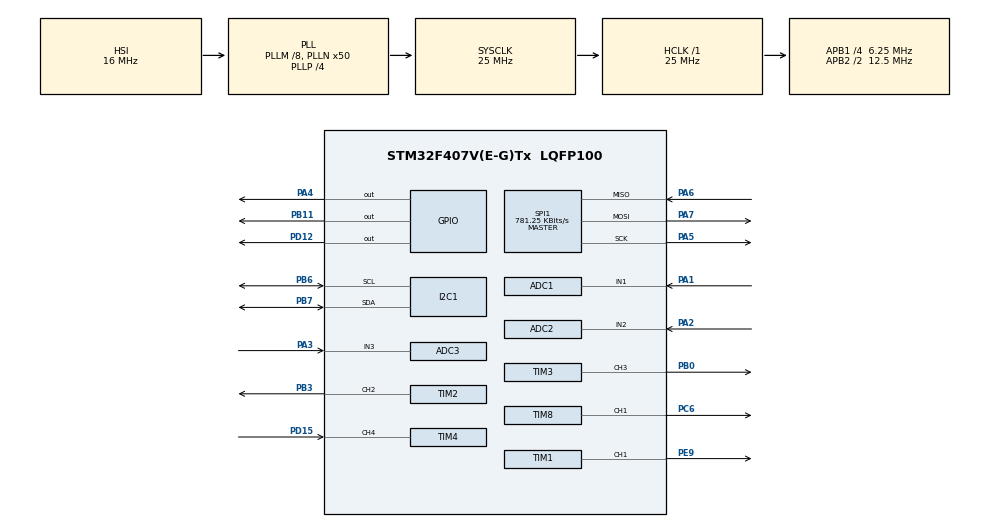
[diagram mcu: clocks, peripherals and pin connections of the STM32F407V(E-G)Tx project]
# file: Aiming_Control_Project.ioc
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ADC1.Channel-0\#ChannelRegularConversion=ADC_CHANNEL_1
ADC1.NbrOfConversionFlag=1
ADC1.Rank-0\#ChannelRegularConversion=1
ADC1.SamplingTime-0\#ChannelRegularConversion=ADC_SAMPLETIME_3CYCLES
ADC1.master=1
ADC2.Channel-0\#ChannelRegularConversion=ADC_CHANNEL_2
ADC2.NbrOfConversionFlag=1
ADC2.Rank-0\#ChannelRegularConversion=1
ADC2.SamplingTime-0\#ChannelRegularConversion=ADC_SAMPLETIME_3CYCLES
ADC3.Channel-0\#ChannelRegularConversion=ADC_CHANNEL_3
ADC3.NbrOfConversionFlag=1
ADC3.Rank-0\#ChannelRegularConversion=1
ADC3.SamplingTime-0\#ChannelRegularConversion=ADC_SAMPLETIME_3CYCLES
Mcu.Family=STM32F4
Mcu.Name=STM32F407V(E-G)Tx
Mcu.Package=LQFP100
NVIC.PriorityGroup=NVIC_PRIORITYGROUP_0
NVIC.TIM4_IRQn=true\:0\:0\:false\:false\:true\:true\:true\:true
PA1.Signal=ADCx_IN1
PA2.Signal=ADCx_IN2
PA3.Signal=ADCx_IN3
PA4.Signal=GPIO_Output
PA5.Mode=Full_Duplex_Master
PA5.Signal=SPI1_SCK
PA6.Mode=Full_Duplex_Master
PA6.Signal=SPI1_MISO
PA7.Mode=Full_Duplex_Master
PA7.Signal=SPI1_MOSI
PB0.Signal=S_TIM3_CH3
PB11.Signal=GPIO_Output
PB3.Signal=S_TIM2_CH2
PB6.Mode=I2C
PB6.Signal=I2C1_SCL
PB7.Mode=I2C
PB7.Signal=I2C1_SDA
PC6.Signal=S_TIM8_CH1
PD12.Signal=GPIO_Output
PD15.Signal=S_TIM4_CH4
PE9.Signal=S_TIM1_CH1
ProjectManager.HeapSize=0x200
ProjectManager.StackSize=0x400
ProjectManager.TargetToolchain=STM32CubeIDE
RCC.48MHZClocksFreq_Value=14285714.285714285
RCC.AHBFreq_Value=25000000
RCC.APB1CLKDivider=RCC_HCLK_DIV4
RCC.APB1Freq_Value=6250000
RCC.APB1TimFreq_Value=12500000
RCC.APB2CLKDivider=RCC_HCLK_DIV2
RCC.APB2Freq_Value=12500000
RCC.APB2TimFreq_Value=25000000
RCC.CortexFreq_Value=25000000
RCC.HCLKFreq_Value=25000000
RCC.HSE_VALUE=8000000
RCC.HSI_VALUE=16000000
RCC.LSE_VALUE=32768
RCC.PLLM=8
RCC.PLLN=50
RCC.PLLP=RCC_PLLP_DIV4
RCC.PLLQ=7
RCC.SYSCLKFreq_VALUE=25000000
RCC.SYSCLKSource=RCC_SYSCLKSOURCE_PLLCLK
RCC.VCOOutputFreq_Value=100000000
SH.ADCx_IN1.0=ADC1_IN1,IN1
SH.ADCx_IN2.0=ADC2_IN2,IN2
SH.ADCx_IN3.0=ADC3_IN3,IN3
SH.S_TIM1_CH1.0=TIM1_CH1,PWM Generation1 CH1
SH.S_TIM2_CH2.0=TIM2_CH2,PWM Generation2 CH2
SH.S_TIM3_CH3.0=TIM3_CH3,PWM Generation3 CH3
SH.S_TIM4_CH4.0=TIM4_CH4,Input_Capture4_from_TI4
SH.S_TIM8_CH1.0=TIM8_CH1,PWM Generation1 CH1
SPI1.BaudRatePrescaler=SPI_BAUDRATEPRESCALER_16
SPI1.CalculateBaudRate=781.25 KBits/s
SPI1.Direction=SPI_DIRECTION_2LINES
SPI1.Mode=SPI_MODE_MASTER
SPI1.VirtualType=VM_MASTER
TIM1.Channel-PWM\ Generation1\ CH1=TIM_CHANNEL_1
TIM1.Period=2000
TIM1.Prescaler=160-1
TIM2.Channel-PWM\ Generation2\ CH2=TIM_CHANNEL_2
TIM2.Period=2000
TIM2.Prescaler=160-1
TIM3.Channel-PWM\ Generation3\ CH3=TIM_CHANNEL_3
TIM3.Period=2000
TIM3.Prescaler=160-1
TIM4.Channel-Input_Capture4_from_TI4=TIM_CHANNEL_4
TIM4.Period=0xffff-1
TIM4.Prescaler=100-1
TIM8.Channel-PWM\ Generation1\ CH1=TIM_CHANNEL_1
TIM8.Period=6250-1
TIM8.Prescaler=255-1
board=STM32F407G-DISC1

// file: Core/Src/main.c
/* USER CODE BEGIN Header */
/**
  ******************************************************************************
  * @file           : main.c
  * @brief          : Main program body
  ******************************************************************************
  * @attention
  *
  * Copyright (c) 2024 STMicroelectronics.
  * All rights reserved.
  *
  * This software is licensed under terms that can be found in the LICENSE file
  * in the root directory of this software component.
  * If no LICENSE file comes with this software, it is provided AS-IS.
  *
  ******************************************************************************
  */
/* USER CODE END Header */
#include "main.h"
#include "stdio.h"
#include <string.h>
/* USER CODE BEGIN Includes */
#include "i2c-lcd.h"
#include "math.h"
/* USER CODE END Includes */

/* USER CODE BEGIN PD */

	#define ADCResolution 4096
	#define ServoRange 120

/* USER CODE END PD */

	ADC_HandleTypeDef hadc1;
	ADC_HandleTypeDef hadc2;
	ADC_HandleTypeDef hadc3;

	I2C_HandleTypeDef hi2c1;

	SPI_HandleTypeDef hspi1;

	TIM_HandleTypeDef htim1;
	TIM_HandleTypeDef htim2;
	TIM_HandleTypeDef htim3;
	TIM_HandleTypeDef htim4;
	TIM_HandleTypeDef htim8;

/* USER CODE BEGIN PV */

//Variables para la realimentación de servomotores
    float Pos_S1; //No utilizada por problemas técnicos
	float Pos_S2;
	float Pos_S3;
//Variables generales de los servomotores
	int dir = 0;
	uint32_t adcval;
//Angulos de consigna para servomotores
	double angulo_servox=0;
	double angulo_servoy=0;
//HCSR-04 variables
	uint32_t time;
	uint32_t IC_Val1 = 0;
	uint32_t IC_Val2 = 0;
	uint32_t Difference = 0;
	uint8_t Is_First_Captured = 0;
	uint8_t Distance  = 0;

//Joystick variables
	uint8_t joystick_data[5];  // Buffer de datos del joystick
	uint16_t boton1;
	uint16_t boton2;
	uint16_t angulo;
	uint16_t v_directorx;
	uint16_t v_directory;
	double angulo_grados;

	double x_value=0;
	double y_value=0;
//Variables para el movimiento de los servos
	double mov_servo1=90;
    double mov_servo2=150;
    double mov_servo3=150;
//Flag para evitar escritura constante por pantalla
    int pantalla=0;
//Buffer para escritura por pantalla
    char BufX[50];
    char BufY[50];
    char Buff[100];

/* USER CODE END PV */

	void SystemClock_Config(void);
	static void MX_GPIO_Init(void);
	static void MX_ADC1_Init(void);
	static void MX_ADC2_Init(void);
	static void MX_ADC3_Init(void);
	static void MX_TIM1_Init(void);
	static void MX_TIM2_Init(void);
	static void MX_TIM3_Init(void);
	static void MX_TIM4_Init(void);
	static void MX_I2C1_Init(void);
	static void MX_SPI1_Init(void);
	static void MX_TIM8_Init(void);

/* USER CODE BEGIN 0 */
/*-----------------------------Shoot init-------------------------------------------------*/
	void ShootPWMInit(uint16_t s){
		__HAL_TIM_SET_COMPARE(&htim8, TIM_CHANNEL_1,s);
	}
/*---------------------------End Shoot init-------------------------------------------------*/

/*-------------------------------------ServoADC Code--------------------------------------*/
	float GetPosition(uint32_t val){
		return ((float)val/ADCResolution)*ServoRange;
	}

	uint32_t ReadServo(ADC_HandleTypeDef* hadc){
		uint32_t value;

		HAL_ADC_Start(hadc);
			  if (HAL_ADC_PollForConversion(hadc,HAL_MAX_DELAY)==HAL_OK) {
			   value = HAL_ADC_GetValue(hadc);
			  }
		HAL_ADC_Stop(hadc);

		return value;
	}

/*----------------------------------ServoADC Code End--------------------------------------*/
/*----------------------------------Display Code-------------------------------------------*/
	void DrawDisplay(){
		memset(Buff,0,sizeof(Buff));
		gcvt(Pos_S2, 4, BufX);
		gcvt(Pos_S3, 4, BufY);
		strcat(Buff,"X:");
		strcat(Buff,BufX);
		strcat(Buff," Y:");
		strcat(Buff,BufY);
		lcd_enviar( "TARGET DETECTED", 0, 0);
		lcd_enviar(Buff , 1, 0);
	}
/*----------------------------------Display Code End---------------------------------------*/
/*---------------------------------Servo Position Code--------------------------------------*/
	void SetPosition(TIM_HandleTypeDef *htim,uint16_t PulseWidth){
		if(htim->Instance == TIM1)
			__HAL_TIM_SET_COMPARE(htim, TIM_CHANNEL_1, PulseWidth);
		else if(htim->Instance == TIM2)
			__HAL_TIM_SET_COMPARE(htim, TIM_CHANNEL_2, PulseWidth);
		else if(htim->Instance == TIM3)
			__HAL_TIM_SET_COMPARE(htim, TIM_CHANNEL_3, PulseWidth);
	}

	void Rotate(){
		HAL_Delay(10);
		if(dir == 0 && mov_servo1 <= 210) {
			mov_servo1=mov_servo1+3;
			__HAL_TIM_SET_COMPARE(&htim1, TIM_CHANNEL_1, mov_servo1);//2,1ms represents 180º
			if (mov_servo1==210)
				dir = 1;
		}

		if(dir == 1 && mov_servo1 >= 90) {
			mov_servo1-=3;
			__HAL_TIM_SET_COMPARE(&htim1, TIM_CHANNEL_1, mov_servo1);//2,1ms represents 180º
			if (mov_servo1<=90)
				dir = 0;
		}
	}
/*-------------------------------Servo Position Code End--------------------------------------*/

/*-------------------------------------HCSR-04 Code--------------------------------------*/
	void delay (uint16_t time)
	{
		__HAL_TIM_SET_COUNTER(&htim4, 0);
		while (__HAL_TIM_GET_COUNTER (&htim4) < time);
	}

	void HAL_TIM_IC_CaptureCallback(TIM_HandleTypeDef *htim)
	{
		if (htim->Channel == HAL_TIM_ACTIVE_CHANNEL_4)  //El canal 4 se utiliza exclusivamente para la gestión del HCSR-04.
		{
			if (Is_First_Captured==0) //Si el primer valor no es capturado
			{
				IC_Val1 = HAL_TIM_ReadCapturedValue(htim, TIM_CHANNEL_4); // Lee el primer valor
				Is_First_Captured = 1;  // Establece el primero capturado como verdadero
				//Ahora cambia la polaridad al flanco descendente.
				__HAL_TIM_SET_CAPTUREPOLARITY(htim, TIM_CHANNEL_4, TIM_INPUTCHANNELPOLARITY_FALLING);
			}

			else if (Is_First_Captured==1)   //Si el primero ya esta capturado
			{
				IC_Val2 = HAL_TIM_ReadCapturedValue(htim, TIM_CHANNEL_4);  //Lee el segundo valor
				__HAL_TIM_SET_COUNTER(htim, 0);  //Resetea el contador

				if (IC_Val2 > IC_Val1)
				{
					Difference = IC_Val2-IC_Val1;
				}

				else if (IC_Val1 > IC_Val2)
				{
					Difference = (0xffff - IC_Val1) + IC_Val2;
				}

				Distance = Difference * (0.34/2);

				Is_First_Captured = 0; //Vuelve a ponerlo en falso

				// Establece la polaridad en el flanco ascendente
				__HAL_TIM_SET_CAPTUREPOLARITY(htim, TIM_CHANNEL_4, TIM_INPUTCHANNELPOLARITY_RISING);
				__HAL_TIM_DISABLE_IT(&htim4, TIM_IT_CC1);
			}
		}
	}

	void HCSR04_Read (void)
	{
		HAL_GPIO_WritePin(GPIOA, GPIO_PIN_4, GPIO_PIN_SET); //TRIG pin HIGH
		delay(10);  // wait for 10 us
		HAL_GPIO_WritePin(GPIOA, GPIO_PIN_4, GPIO_PIN_RESET);// TRIG pin LOW

		__HAL_TIM_ENABLE_IT(&htim4, TIM_IT_CC1);
	}

	/*---------------------------------HCSR-04 Code End--------------------------------------*/

	//Lectura y tratamiento de coordenadas
	void read_joystick_position(void) {
	    uint8_t command = 0x00;  // Comando para leer datos del joystick (según el manual)

	    // Activamos el CS
	    HAL_GPIO_WritePin(GPIOB, GPIO_PIN_11, GPIO_PIN_RESET);

	    //Transmitimos para leer
	    HAL_SPI_Transmit(&hspi1, &command, 1, HAL_MAX_DELAY);

	    // Recibimos el buffer de datos del joystick
	    HAL_SPI_Receive(&hspi1, joystick_data, 5, HAL_MAX_DELAY);

	    // Cerramos el CS
	    HAL_GPIO_WritePin(GPIOB, GPIO_PIN_11, GPIO_PIN_SET);

	    // Procesar los datos: joystick_data[1] y joystick_data[2] son las posiciones X e Y
	    v_directorx = joystick_data[0];
	    angulo = joystick_data[1];  //Valores de angulo
	    v_directory = joystick_data[2];  //Sectores de angulo
	    boton1 = joystick_data[3]; //Boton central y lateral
	    boton2 = joystick_data[4]; //Confirmación de boton central y lateral

	    //Boton lateral o central como seguro
	    if(boton2)
		  {
	    	  //Valores de coordenadas en x e y para azimut y giro
			  x_value= 100-100*cos((M_PI*angulo_grados)/180);
			  y_value= 100+100*sin((M_PI*angulo_grados)/180);

			  //Movimiento de los servomotores con margen de limitación para evitar errores de medida
			  if(x_value>50.0 && mov_servo2<210)mov_servo2+=1;
			  if(x_value<150.0 && mov_servo2>90)mov_servo2-=1;
			  if(y_value<50.0 && mov_servo3<210)mov_servo3+=1;
			  if(y_value>150.0 && mov_servo3>90)mov_servo3-=1;

			  //Sector 0-60
			  if(v_directorx>1 && v_directory> 1 && v_directory< 3){
				  angulo_grados=60*1.0*angulo/255;
			  }
			  //Sector 60-90
			  else if(v_directory== 3 && v_directorx>1){
				  angulo_grados= 60+30*angulo*1.0/68;
		      }
			  //Sector 90-120
			  else if(v_directory== 3 && v_directorx<2){
				  angulo_grados= 90+30*(68-angulo)*1.0/68;
			  }
			  //Sector 120-180
		      else if(v_directorx<2 && v_directory> 1 && v_directory< 3){
				  angulo_grados= 120+60*(255-angulo)*1.0/255;
			  }
			  //Sector 180-240
			  else if(v_directorx<2 && v_directory< 2 && v_directory> 0){
				  angulo_grados= 180+60*(255-angulo)*1.0/255;
		      }
			  //Sector 240-270
			  else if(v_directory== 0 && v_directorx<2){
				 angulo_grados= 240-30*(angulo-255)*1.0/68;
		      }
			  //Sector 270-300
				else if(v_directory== 0 && v_directorx>1){
			     angulo_grados= 270+30*(angulo-255+68)*1.0/68;
			  }
			  //Sector 300-330
			  else if(v_directorx>1 && v_directory< 2 && v_directory> 0){
				 angulo_grados= 300+60*(angulo)*1.0/255;

			  }
		  }
	}

/* USER CODE END 0 */

int main(void)
{

  /* MCU Configuration--------------------------------------------------------*/

  /* Reset of all peripherals, Initializes the Flash interface and the Systick. */
	  HAL_Init();

  /* Configure the system clock */
	  SystemClock_Config();

  /* Initialize all configured peripherals */
	  MX_GPIO_Init();
	  MX_ADC1_Init();
	  MX_ADC2_Init();
	  MX_ADC3_Init();
	  MX_TIM1_Init();
	  MX_TIM2_Init();
	  MX_TIM3_Init();
	  MX_TIM4_Init();
	  MX_I2C1_Init();
	  MX_SPI1_Init();
	  MX_TIM8_Init();
  /* USER CODE BEGIN 2 */
	  HAL_TIM_PWM_Start(&htim1, TIM_CHANNEL_1);
	  HAL_TIM_PWM_Start(&htim2, TIM_CHANNEL_2);
	  HAL_TIM_PWM_Start(&htim3, TIM_CHANNEL_3);
	  HAL_TIM_PWM_Start(&htim8, TIM_CHANNEL_1);
	  HAL_TIM_IC_Start_IT(&htim4, TIM_CHANNEL_4);
	  lcd_init();
	  ShootPWMInit(3125);
	  lcd_clear();

  /* USER CODE END 2 */

  /* Infinite loop */
  /* USER CODE BEGIN WHILE */

  while (1)
  {
	  	//Lectura del sensor de ultrasonidos
		HCSR04_Read();
		//Obtención de la posicion de los servos
		Pos_S2 = GetPosition(ReadServo(&hadc2));
		Pos_S3 = GetPosition(ReadServo(&hadc3));
		//Lectura de la posición del Joystick
	    read_joystick_position();
		//Constante movimiento del servo responsable del sensor
		Rotate();
		//Movimiento de los servomotores
		SetPosition(&htim2, mov_servo2);
		SetPosition(&htim3, mov_servo3);
		//Escritura por pantalla dependiente de la distancia detectada por el servomotor
		if(Distance < 10){
			HAL_GPIO_WritePin(GPIOD,GPIO_PIN_12,1);
			if (pantalla==0){
				//Salida por pantalla
				DrawDisplay();
				pantalla=1;
			}
		}
		else{
			HAL_GPIO_WritePin(GPIOD,GPIO_PIN_12,0);
			if (pantalla==1){
				//Salida por pantalla
				lcd_clear();
				pantalla=0;
			}
		}
	   // Retardo recomendado en la DATASHEET
	   HAL_Delay(10);
    /* USER CODE END WHILE */
  }
}

void SystemClock_Config(void)
{
  RCC_OscInitTypeDef RCC_OscInitStruct = {0};
  RCC_ClkInitTypeDef RCC_ClkInitStruct = {0};

  /** Configure the main internal regulator output voltage
  */
  __HAL_RCC_PWR_CLK_ENABLE();
  __HAL_PWR_VOLTAGESCALING_CONFIG(PWR_REGULATOR_VOLTAGE_SCALE1);

  /** Initializes the RCC Oscillators according to the specified parameters
  * in the RCC_OscInitTypeDef structure.
  */
  RCC_OscInitStruct.OscillatorType = RCC_OSCILLATORTYPE_HSI;
  RCC_OscInitStruct.HSIState = RCC_HSI_ON;
  RCC_OscInitStruct.HSICalibrationValue = RCC_HSICALIBRATION_DEFAULT;
  RCC_OscInitStruct.PLL.PLLState = RCC_PLL_ON;
  RCC_OscInitStruct.PLL.PLLSource = RCC_PLLSOURCE_HSI;
  RCC_OscInitStruct.PLL.PLLM = 8;
  RCC_OscInitStruct.PLL.PLLN = 50;
  RCC_OscInitStruct.PLL.PLLP = RCC_PLLP_DIV4;
  RCC_OscInitStruct.PLL.PLLQ = 7;
  if (HAL_RCC_OscConfig(&RCC_OscInitStruct) != HAL_OK)
  {
    Error_Handler();
  }

  /** Initializes the CPU, AHB and APB buses clocks
  */
  RCC_ClkInitStruct.ClockType = RCC_CLOCKTYPE_HCLK|RCC_CLOCKTYPE_SYSCLK
                              |RCC_CLOCKTYPE_PCLK1|RCC_CLOCKTYPE_PCLK2;
  RCC_ClkInitStruct.SYSCLKSource = RCC_SYSCLKSOURCE_PLLCLK;
  RCC_ClkInitStruct.AHBCLKDivider = RCC_SYSCLK_DIV1;
  RCC_ClkInitStruct.APB1CLKDivider = RCC_HCLK_DIV4;
  RCC_ClkInitStruct.APB2CLKDivider = RCC_HCLK_DIV2;

  if (HAL_RCC_ClockConfig(&RCC_ClkInitStruct, FLASH_LATENCY_0) != HAL_OK)
  {
    Error_Handler();
  }
}

static void MX_ADC1_Init(void)
{

  ADC_ChannelConfTypeDef sConfig = {0};

  /** Configure the global features of the ADC (Clock, Resolution, Data Alignment and number of conversion)
  */
  hadc1.Instance = ADC1;
  hadc1.Init.ClockPrescaler = ADC_CLOCK_SYNC_PCLK_DIV2;
  hadc1.Init.Resolution = ADC_RESOLUTION_12B;
  hadc1.Init.ScanConvMode = DISABLE;
  hadc1.Init.ContinuousConvMode = DISABLE;
  hadc1.Init.DiscontinuousConvMode = DISABLE;
  hadc1.Init.ExternalTrigConvEdge = ADC_EXTERNALTRIGCONVEDGE_NONE;
  hadc1.Init.ExternalTrigConv = ADC_SOFTWARE_START;
  hadc1.Init.DataAlign = ADC_DATAALIGN_RIGHT;
  hadc1.Init.NbrOfConversion = 1;
  hadc1.Init.DMAContinuousRequests = DISABLE;
  hadc1.Init.EOCSelection = ADC_EOC_SINGLE_CONV;
  if (HAL_ADC_Init(&hadc1) != HAL_OK)
  {
    Error_Handler();
  }

  /** Configure for the selected ADC regular channel its corresponding rank in the sequencer and its sample time.
  */
  sConfig.Channel = ADC_CHANNEL_1;
  sConfig.Rank = 1;
  sConfig.SamplingTime = ADC_SAMPLETIME_3CYCLES;
  if (HAL_ADC_ConfigChannel(&hadc1, &sConfig) != HAL_OK)
  {
    Error_Handler();
  }

}

static void MX_ADC2_Init(void)
{

  ADC_ChannelConfTypeDef sConfig = {0};

  /** Configure the global features of the ADC (Clock, Resolution, Data Alignment and number of conversion)
  */
  hadc2.Instance = ADC2;
  hadc2.Init.ClockPrescaler = ADC_CLOCK_SYNC_PCLK_DIV2;
  hadc2.Init.Resolution = ADC_RESOLUTION_12B;
  hadc2.Init.ScanConvMode = DISABLE;
  hadc2.Init.ContinuousConvMode = DISABLE;
  hadc2.Init.DiscontinuousConvMode = DISABLE;
  hadc2.Init.ExternalTrigConvEdge = ADC_EXTERNALTRIGCONVEDGE_NONE;
  hadc2.Init.ExternalTrigConv = ADC_SOFTWARE_START;
  hadc2.Init.DataAlign = ADC_DATAALIGN_RIGHT;
  hadc2.Init.NbrOfConversion = 1;
  hadc2.Init.DMAContinuousRequests = DISABLE;
  hadc2.Init.EOCSelection = ADC_EOC_SINGLE_CONV;
  if (HAL_ADC_Init(&hadc2) != HAL_OK)
  {
    Error_Handler();
  }

  /** Configure for the selected ADC regular channel its corresponding rank in the sequencer and its sample time.
  */
  sConfig.Channel = ADC_CHANNEL_2;
  sConfig.Rank = 1;
  sConfig.SamplingTime = ADC_SAMPLETIME_3CYCLES;
  if (HAL_ADC_ConfigChannel(&hadc2, &sConfig) != HAL_OK)
  {
    Error_Handler();
  }

}

static void MX_ADC3_Init(void)
{

  ADC_ChannelConfTypeDef sConfig = {0};

  /** Configure the global features of the ADC (Clock, Resolution, Data Alignment and number of conversion)
  */
  hadc3.Instance = ADC3;
  hadc3.Init.ClockPrescaler = ADC_CLOCK_SYNC_PCLK_DIV2;
  hadc3.Init.Resolution = ADC_RESOLUTION_12B;
  hadc3.Init.ScanConvMode = DISABLE;
  hadc3.Init.ContinuousConvMode = DISABLE;
  hadc3.Init.DiscontinuousConvMode = DISABLE;
  hadc3.Init.ExternalTrigConvEdge = ADC_EXTERNALTRIGCONVEDGE_NONE;
  hadc3.Init.ExternalTrigConv = ADC_SOFTWARE_START;
  hadc3.Init.DataAlign = ADC_DATAALIGN_RIGHT;
  hadc3.Init.NbrOfConversion = 1;
  hadc3.Init.DMAContinuousRequests = DISABLE;
  hadc3.Init.EOCSelection = ADC_EOC_SINGLE_CONV;
  if (HAL_ADC_Init(&hadc3) != HAL_OK)
  {
    Error_Handler();
  }

  /** Configure for the selected ADC regular channel its corresponding rank in the sequencer and its sample time.
  */
  sConfig.Channel = ADC_CHANNEL_3;
  sConfig.Rank = 1;
  sConfig.SamplingTime = ADC_SAMPLETIME_3CYCLES;
  if (HAL_ADC_ConfigChannel(&hadc3, &sConfig) != HAL_OK)
  {
    Error_Handler();
  }

}

static void MX_I2C1_Init(void)
{

  hi2c1.Instance = I2C1;
  hi2c1.Init.ClockSpeed = 100000;
  hi2c1.Init.DutyCycle = I2C_DUTYCYCLE_2;
  hi2c1.Init.OwnAddress1 = 0;
  hi2c1.Init.AddressingMode = I2C_ADDRESSINGMODE_7BIT;
  hi2c1.Init.DualAddressMode = I2C_DUALADDRESS_DISABLE;
  hi2c1.Init.OwnAddress2 = 0;
  hi2c1.Init.GeneralCallMode = I2C_GENERALCALL_DISABLE;
  hi2c1.Init.NoStretchMode = I2C_NOSTRETCH_DISABLE;
  if (HAL_I2C_Init(&hi2c1) != HAL_OK)
  {
    Error_Handler();
  }

}

static void MX_SPI1_Init(void)
{

  /* SPI1 parameter configuration*/
  hspi1.Instance = SPI1;
  hspi1.Init.Mode = SPI_MODE_MASTER;
  hspi1.Init.Direction = SPI_DIRECTION_2LINES;
  hspi1.Init.DataSize = SPI_DATASIZE_8BIT;
  hspi1.Init.CLKPolarity = SPI_POLARITY_LOW;
  hspi1.Init.CLKPhase = SPI_PHASE_1EDGE;
  hspi1.Init.NSS = SPI_NSS_SOFT;
  hspi1.Init.BaudRatePrescaler = SPI_BAUDRATEPRESCALER_16;
  hspi1.Init.FirstBit = SPI_FIRSTBIT_MSB;
  hspi1.Init.TIMode = SPI_TIMODE_DISABLE;
  hspi1.Init.CRCCalculation = SPI_CRCCALCULATION_DISABLE;
  hspi1.Init.CRCPolynomial = 10;
  if (HAL_SPI_Init(&hspi1) != HAL_OK)
  {
    Error_Handler();
  }

}

static void MX_TIM1_Init(void)
{

  TIM_MasterConfigTypeDef sMasterConfig = {0};
  TIM_OC_InitTypeDef sConfigOC = {0};
  TIM_BreakDeadTimeConfigTypeDef sBreakDeadTimeConfig = {0};

  htim1.Instance = TIM1;
  htim1.Init.Prescaler = 160-1;
  htim1.Init.CounterMode = TIM_COUNTERMODE_UP;
  htim1.Init.Period = 2000;
  htim1.Init.ClockDivision = TIM_CLOCKDIVISION_DIV1;
  htim1.Init.RepetitionCounter = 0;
  htim1.Init.AutoReloadPreload = TIM_AUTORELOAD_PRELOAD_DISABLE;
  if (HAL_TIM_PWM_Init(&htim1) != HAL_OK)
  {
    Error_Handler();
  }
  sMasterConfig.MasterOutputTrigger = TIM_TRGO_RESET;
  sMasterConfig.MasterSlaveMode = TIM_MASTERSLAVEMODE_DISABLE;
  if (HAL_TIMEx_MasterConfigSynchronization(&htim1, &sMasterConfig) != HAL_OK)
  {
    Error_Handler();
  }
  sConfigOC.OCMode = TIM_OCMODE_PWM1;
  sConfigOC.Pulse = 0;
  sConfigOC.OCPolarity = TIM_OCPOLARITY_HIGH;
  sConfigOC.OCNPolarity = TIM_OCNPOLARITY_HIGH;
  sConfigOC.OCFastMode = TIM_OCFAST_DISABLE;
  sConfigOC.OCIdleState = TIM_OCIDLESTATE_RESET;
  sConfigOC.OCNIdleState = TIM_OCNIDLESTATE_RESET;
  if (HAL_TIM_PWM_ConfigChannel(&htim1, &sConfigOC, TIM_CHANNEL_1) != HAL_OK)
  {
    Error_Handler();
  }
  sBreakDeadTimeConfig.OffStateRunMode = TIM_OSSR_DISABLE;
  sBreakDeadTimeConfig.OffStateIDLEMode = TIM_OSSI_DISABLE;
  sBreakDeadTimeConfig.LockLevel = TIM_LOCKLEVEL_OFF;
  sBreakDeadTimeConfig.DeadTime = 0;
  sBreakDeadTimeConfig.BreakState = TIM_BREAK_DISABLE;
  sBreakDeadTimeConfig.BreakPolarity = TIM_BREAKPOLARITY_HIGH;
  sBreakDeadTimeConfig.AutomaticOutput = TIM_AUTOMATICOUTPUT_DISABLE;
  if (HAL_TIMEx_ConfigBreakDeadTime(&htim1, &sBreakDeadTimeConfig) != HAL_OK)
  {
    Error_Handler();
  }
  HAL_TIM_MspPostInit(&htim1);

}

static void MX_TIM2_Init(void)
{

  TIM_MasterConfigTypeDef sMasterConfig = {0};
  TIM_OC_InitTypeDef sConfigOC = {0};

  htim2.Instance = TIM2;
  htim2.Init.Prescaler = 160-1;
  htim2.Init.CounterMode = TIM_COUNTERMODE_UP;
  htim2.Init.Period = 2000;
  htim2.Init.ClockDivision = TIM_CLOCKDIVISION_DIV1;
  htim2.Init.AutoReloadPreload = TIM_AUTORELOAD_PRELOAD_DISABLE;
  if (HAL_TIM_PWM_Init(&htim2) != HAL_OK)
  {
    Error_Handler();
  }
  sMasterConfig.MasterOutputTrigger = TIM_TRGO_RESET;
  sMasterConfig.MasterSlaveMode = TIM_MASTERSLAVEMODE_DISABLE;
  if (HAL_TIMEx_MasterConfigSynchronization(&htim2, &sMasterConfig) != HAL_OK)
  {
    Error_Handler();
  }
  sConfigOC.OCMode = TIM_OCMODE_PWM1;
  sConfigOC.Pulse = 0;
  sConfigOC.OCPolarity = TIM_OCPOLARITY_HIGH;
  sConfigOC.OCFastMode = TIM_OCFAST_DISABLE;
  if (HAL_TIM_PWM_ConfigChannel(&htim2, &sConfigOC, TIM_CHANNEL_2) != HAL_OK)
  {
    Error_Handler();
  }
  HAL_TIM_MspPostInit(&htim2);

}

static void MX_TIM3_Init(void)
{

  TIM_MasterConfigTypeDef sMasterConfig = {0};
  TIM_OC_InitTypeDef sConfigOC = {0};

  htim3.Instance = TIM3;
  htim3.Init.Prescaler = 160-1;
  htim3.Init.CounterMode = TIM_COUNTERMODE_UP;
  htim3.Init.Period = 2000;
  htim3.Init.ClockDivision = TIM_CLOCKDIVISION_DIV1;
  htim3.Init.AutoReloadPreload = TIM_AUTORELOAD_PRELOAD_DISABLE;
  if (HAL_TIM_PWM_Init(&htim3) != HAL_OK)
  {
    Error_Handler();
  }
  sMasterConfig.MasterOutputTrigger = TIM_TRGO_RESET;
  sMasterConfig.MasterSlaveMode = TIM_MASTERSLAVEMODE_DISABLE;
  if (HAL_TIMEx_MasterConfigSynchronization(&htim3, &sMasterConfig) != HAL_OK)
  {
    Error_Handler();
  }
  sConfigOC.OCMode = TIM_OCMODE_PWM1;
  sConfigOC.Pulse = 0;
  sConfigOC.OCPolarity = TIM_OCPOLARITY_HIGH;
  sConfigOC.OCFastMode = TIM_OCFAST_DISABLE;
  if (HAL_TIM_PWM_ConfigChannel(&htim3, &sConfigOC, TIM_CHANNEL_3) != HAL_OK)
  {
    Error_Handler();
  }
  HAL_TIM_MspPostInit(&htim3);

}

static void MX_TIM4_Init(void)
{

  TIM_MasterConfigTypeDef sMasterConfig = {0};
  TIM_IC_InitTypeDef sConfigIC = {0};

  htim4.Instance = TIM4;
  htim4.Init.Prescaler = 100-1;
  htim4.Init.CounterMode = TIM_COUNTERMODE_UP;
  htim4.Init.Period = 0xffff-1;
  htim4.Init.ClockDivision = TIM_CLOCKDIVISION_DIV1;
  htim4.Init.AutoReloadPreload = TIM_AUTORELOAD_PRELOAD_DISABLE;
  if (HAL_TIM_IC_Init(&htim4) != HAL_OK)
  {
    Error_Handler();
  }
  sMasterConfig.MasterOutputTrigger = TIM_TRGO_RESET;
  sMasterConfig.MasterSlaveMode = TIM_MASTERSLAVEMODE_DISABLE;
  if (HAL_TIMEx_MasterConfigSynchronization(&htim4, &sMasterConfig) != HAL_OK)
  {
    Error_Handler();
  }
  sConfigIC.ICPolarity = TIM_INPUTCHANNELPOLARITY_RISING;
  sConfigIC.ICSelection = TIM_ICSELECTION_DIRECTTI;
  sConfigIC.ICPrescaler = TIM_ICPSC_DIV1;
  sConfigIC.ICFilter = 0;
  if (HAL_TIM_IC_ConfigChannel(&htim4, &sConfigIC, TIM_CHANNEL_4) != HAL_OK)
  {
    Error_Handler();
  }

}

static void MX_TIM8_Init(void)
{

  TIM_MasterConfigTypeDef sMasterConfig = {0};
  TIM_OC_InitTypeDef sConfigOC = {0};
  TIM_BreakDeadTimeConfigTypeDef sBreakDeadTimeConfig = {0};

  htim8.Instance = TIM8;
  htim8.Init.Prescaler = 255-1;
  htim8.Init.CounterMode = TIM_COUNTERMODE_UP;
  htim8.Init.Period = 6250-1;
  htim8.Init.ClockDivision = TIM_CLOCKDIVISION_DIV1;
  htim8.Init.RepetitionCounter = 0;
  htim8.Init.AutoReloadPreload = TIM_AUTORELOAD_PRELOAD_DISABLE;
  if (HAL_TIM_PWM_Init(&htim8) != HAL_OK)
  {
    Error_Handler();
  }
  sMasterConfig.MasterOutputTrigger = TIM_TRGO_RESET;
  sMasterConfig.MasterSlaveMode = TIM_MASTERSLAVEMODE_DISABLE;
  if (HAL_TIMEx_MasterConfigSynchronization(&htim8, &sMasterConfig) != HAL_OK)
  {
    Error_Handler();
  }
  sConfigOC.OCMode = TIM_OCMODE_PWM1;
  sConfigOC.Pulse = 0;
  sConfigOC.OCPolarity = TIM_OCPOLARITY_HIGH;
  sConfigOC.OCNPolarity = TIM_OCNPOLARITY_HIGH;
  sConfigOC.OCFastMode = TIM_OCFAST_DISABLE;
  sConfigOC.OCIdleState = TIM_OCIDLESTATE_RESET;
  sConfigOC.OCNIdleState = TIM_OCNIDLESTATE_RESET;
  if (HAL_TIM_PWM_ConfigChannel(&htim8, &sConfigOC, TIM_CHANNEL_1) != HAL_OK)
  {
    Error_Handler();
  }
  sBreakDeadTimeConfig.OffStateRunMode = TIM_OSSR_DISABLE;
  sBreakDeadTimeConfig.OffStateIDLEMode = TIM_OSSI_DISABLE;
  sBreakDeadTimeConfig.LockLevel = TIM_LOCKLEVEL_OFF;
  sBreakDeadTimeConfig.DeadTime = 0;
  sBreakDeadTimeConfig.BreakState = TIM_BREAK_DISABLE;
  sBreakDeadTimeConfig.BreakPolarity = TIM_BREAKPOLARITY_HIGH;
  sBreakDeadTimeConfig.AutomaticOutput = TIM_AUTOMATICOUTPUT_DISABLE;
  if (HAL_TIMEx_ConfigBreakDeadTime(&htim8, &sBreakDeadTimeConfig) != HAL_OK)
  {
    Error_Handler();
  }
  HAL_TIM_MspPostInit(&htim8);

}

static void MX_GPIO_Init(void)
{
  GPIO_InitTypeDef GPIO_InitStruct = {0};

  /* GPIO Ports Clock Enable */
  __HAL_RCC_GPIOA_CLK_ENABLE();
  __HAL_RCC_GPIOB_CLK_ENABLE();
  __HAL_RCC_GPIOE_CLK_ENABLE();
  __HAL_RCC_GPIOD_CLK_ENABLE();
  __HAL_RCC_GPIOC_CLK_ENABLE();

  /*Configure GPIO pin Output Level */
  HAL_GPIO_WritePin(GPIOA, GPIO_PIN_4, GPIO_PIN_RESET);

  /*Configure GPIO pin Output Level */
  HAL_GPIO_WritePin(GPIOB, GPIO_PIN_11, GPIO_PIN_RESET);

  /*Configure GPIO pin Output Level */
  HAL_GPIO_WritePin(GPIOD, GPIO_PIN_12, GPIO_PIN_RESET);

  /*Configure GPIO pin : PA4 */
  GPIO_InitStruct.Pin = GPIO_PIN_4;
  GPIO_InitStruct.Mode = GPIO_MODE_OUTPUT_PP;
  GPIO_InitStruct.Pull = GPIO_NOPULL;
  GPIO_InitStruct.Speed = GPIO_SPEED_FREQ_LOW;
  HAL_GPIO_Init(GPIOA, &GPIO_InitStruct);

  /*Configure GPIO pin : PB11 */
  GPIO_InitStruct.Pin = GPIO_PIN_11;
  GPIO_InitStruct.Mode = GPIO_MODE_OUTPUT_PP;
  GPIO_InitStruct.Pull = GPIO_NOPULL;
  GPIO_InitStruct.Speed = GPIO_SPEED_FREQ_LOW;
  HAL_GPIO_Init(GPIOB, &GPIO_InitStruct);

  /*Configure GPIO pin : PD12 */
  GPIO_InitStruct.Pin = GPIO_PIN_12;
  GPIO_InitStruct.Mode = GPIO_MODE_OUTPUT_PP;
  GPIO_InitStruct.Pull = GPIO_NOPULL;
  GPIO_InitStruct.Speed = GPIO_SPEED_FREQ_LOW;
  HAL_GPIO_Init(GPIOD, &GPIO_InitStruct);

}

void Error_Handler(void)
{
  __disable_irq();
  while (1)
  {
  }
}
